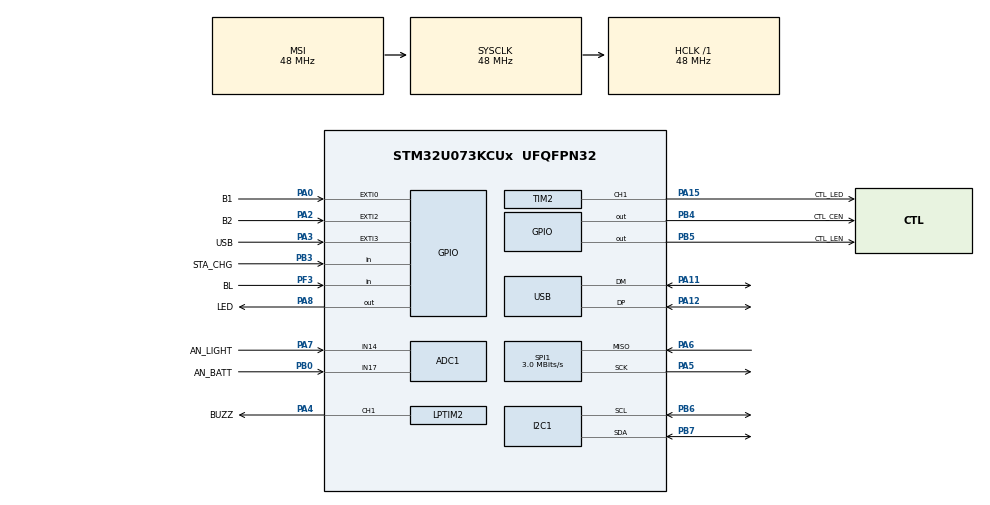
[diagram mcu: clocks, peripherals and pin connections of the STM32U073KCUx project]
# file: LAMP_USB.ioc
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ADC1.NbrOfConversion=1
ADC1.NbrOfConversionFlag=0
ADC1.OversamplingMode=DISABLE
ADC1.SamplingTimeCommon1=ADC_SAMPLETIME_160CYCLES_5
ADC1.SelectedChannel=ADC_CHANNEL_VREFINT|ADC_CHANNEL_14|ADC_CHANNEL_17|ADC_CHANNEL_VBAT
ADC1.Sequencer=NOT_FULLY_CONFIGURABLE
ADC1.master=1
Dma.Request0=SPI1_RX
Dma.Request1=TIM2_CH1
Dma.SPI1_RX.0.Direction=DMA_PERIPH_TO_MEMORY
Dma.SPI1_RX.0.EventEnable=DISABLE
Dma.SPI1_RX.0.Instance=DMA1_Channel1
Dma.SPI1_RX.0.MemDataAlignment=DMA_MDATAALIGN_HALFWORD
Dma.SPI1_RX.0.MemInc=DMA_MINC_ENABLE
Dma.SPI1_RX.0.Mode=DMA_CIRCULAR
Dma.SPI1_RX.0.PeriphDataAlignment=DMA_PDATAALIGN_HALFWORD
Dma.SPI1_RX.0.PeriphInc=DMA_PINC_DISABLE
Dma.SPI1_RX.0.Polarity=HAL_DMAMUX_REQ_GEN_RISING
Dma.SPI1_RX.0.Priority=DMA_PRIORITY_HIGH
Dma.SPI1_RX.0.RequestNumber=1
Dma.SPI1_RX.0.SignalID=NONE
Dma.SPI1_RX.0.SyncEnable=DISABLE
Dma.SPI1_RX.0.SyncPolarity=HAL_DMAMUX_SYNC_NO_EVENT
Dma.SPI1_RX.0.SyncRequestNumber=1
Dma.SPI1_RX.0.SyncSignalID=NONE
Dma.TIM2_CH1.1.Direction=DMA_MEMORY_TO_PERIPH
Dma.TIM2_CH1.1.EventEnable=DISABLE
Dma.TIM2_CH1.1.Instance=DMA1_Channel2
Dma.TIM2_CH1.1.MemDataAlignment=DMA_MDATAALIGN_WORD
Dma.TIM2_CH1.1.MemInc=DMA_MINC_ENABLE
Dma.TIM2_CH1.1.Mode=DMA_NORMAL
Dma.TIM2_CH1.1.PeriphDataAlignment=DMA_PDATAALIGN_WORD
Dma.TIM2_CH1.1.PeriphInc=DMA_PINC_DISABLE
Dma.TIM2_CH1.1.Polarity=HAL_DMAMUX_REQ_GEN_RISING
Dma.TIM2_CH1.1.Priority=DMA_PRIORITY_HIGH
Dma.TIM2_CH1.1.RequestNumber=1
Dma.TIM2_CH1.1.SignalID=NONE
Dma.TIM2_CH1.1.SyncEnable=DISABLE
Dma.TIM2_CH1.1.SyncPolarity=HAL_DMAMUX_SYNC_NO_EVENT
Dma.TIM2_CH1.1.SyncRequestNumber=1
Dma.TIM2_CH1.1.SyncSignalID=NONE
I2C1.Analog_Filter=I2C_ANALOGFILTER_ENABLE
I2C1.Speed=50
I2C1.Timing=0x20303EFD
LPTIM2.ClockPrescaler=LPTIM_PRESCALER_DIV16
LPTIM2.Period=4000
LPTIM2.UpdateMode=LPTIM_UPDATE_ENDOFPERIOD
Mcu.Family=STM32U0
Mcu.Name=STM32U073KCUx
Mcu.Package=UFQFPN32
NVIC.ADC_COMP1_2_IRQn=true\:0\:0\:false\:false\:true\:true\:true\:true
NVIC.DMA1_Channel1_IRQn=true\:0\:0\:false\:false\:true\:false\:true\:true
NVIC.DMA1_Channel2_3_IRQn=true\:0\:0\:false\:false\:true\:false\:true\:true
NVIC.PriorityGroup=NVIC_PRIORITYGROUP_2
NVIC.RTC_TAMP_IRQn=true\:0\:0\:false\:false\:true\:true\:true\:true
NVIC.SPI1_IRQn=true\:0\:0\:false\:false\:true\:true\:true\:true
NVIC.TIM2_IRQn=true\:0\:0\:false\:false\:true\:true\:true\:true
NVIC.TIM7_LPTIM2_IRQn=true\:0\:0\:false\:false\:true\:true\:true\:true
NVIC.USB_DRD_FS_IRQn=true\:0\:0\:false\:false\:true\:true\:true\:true
PA0-CK_IN.GPIO_Label=B1
PA0-CK_IN.Signal=GPXTI0
PA11\ [PA9].Mode=Device
PA11\ [PA9].Signal=USB_DM
PA12\ [PA10].Mode=Device
PA12\ [PA10].Signal=USB_DP
PA15.GPIO_Label=CTL_LED
PA15.Signal=S_TIM2_CH1_ETR
PA2.GPIO_Label=B2
PA2.Signal=GPXTI2
PA3.GPIO_Label=USB
PA3.GPIO_ModeDefaultEXTI=GPIO_MODE_IT_RISING_FALLING
PA3.GPIO_PuPd=GPIO_PULLDOWN
PA3.Signal=GPXTI3
PA4.GPIO_Label=BUZZ
PA4.Signal=S_LPTIM2_CH1
PA5.GPIO_Speed=GPIO_SPEED_FREQ_VERY_HIGH
PA5.Mode=RX_Only_Simplex_Unidirect_Master
PA5.Signal=SPI1_SCK
PA6.GPIO_PuPd=GPIO_NOPULL
PA6.GPIO_Speed=GPIO_SPEED_FREQ_VERY_HIGH
PA6.Mode=RX_Only_Simplex_Unidirect_Master
PA6.Signal=SPI1_MISO
PA7.GPIO_Label=AN_LIGHT
PA7.Mode=IN14
PA7.Signal=ADC1_IN14
PA8.GPIO_Label=LED
PA8.Signal=GPIO_Output
PB0.GPIO_Label=AN_BATT
PB0.Mode=IN17
PB0.Signal=ADC1_IN17
PB3.GPIO_Label=STA_CHG
PB3.GPIO_PuPd=GPIO_PULLUP
PB3.Signal=GPIO_Input
PB4.GPIO_Label=CTL_CEN
PB4.Signal=GPIO_Output
PB5.GPIO_Label=CTL_LEN
PB5.Signal=GPIO_Output
PB6.GPIO_Pu=GPIO_PULLUP
PB6.Mode=I2C
PB6.Signal=I2C1_SCL
PB7.GPIO_Pu=GPIO_PULLUP
PB7.Mode=I2C
PB7.Signal=I2C1_SDA
PC14-OSC32_IN.Mode=LSE-External-Oscillator
PC14-OSC32_IN.Signal=RCC_OSC32_IN
PC15-OSC32_OUT.Mode=LSE-External-Oscillator
PC15-OSC32_OUT.Signal=RCC_OSC32_OUT
PF3-BOOT0\ (BOOT0).GPIO_Label=BL
PF3-BOOT0\ (BOOT0).Signal=GPIO_Input
ProjectManager.HeapSize=0x200
ProjectManager.StackSize=0x400
ProjectManager.TargetToolchain=STM32CubeIDE
RCC.ADCCLockSelection=RCC_ADCCLKSOURCE_HSI
RCC.ADCFreq_Value=16000000
RCC.AHBFreq_Value=48000000
RCC.CortexFreq_Value=48000000
RCC.HCLKFreq_Value=48000000
RCC.HSE_VALUE=4000000
RCC.HSI48_VALUE=48000000
RCC.HSI_VALUE=16000000
RCC.LPTIM2CLockSelection=RCC_LPTIM2CLKSOURCE_HSI
RCC.MSIClockRangeVal=RCC_MSIRANGE_11
RCC.MSI_VALUE=48000000
RCC.RTCClockSelection=RCC_RTCCLKSOURCE_LSE
RCC.SYSCLKFreq_VALUE=48000000
RCC.SYSCLKSource=RCC_SYSCLKSOURCE_MSI
RCC.USBCLockSelection=RCC_USBCLKSOURCE_HSI48
RCC.USBFreq_Value=48000000
RCC.VCOOutputFreq_Value=64000000
RTC.Alarm=RTC_ALARM_A
RTC.AlarmMaskDateWeekDay=RTC_ALARMMASK_DATEWEEKDAY
RTC.AlarmMaskSeconds=RTC_ALARMMASK_SECONDS
SH.S_LPTIM2_CH1.0=LPTIM2_CH1,OutputIO_CH1
SH.S_TIM2_CH1_ETR.0=TIM2_CH1,PWM Generation1 CH1
SPI1.BaudRatePrescaler=SPI_BAUDRATEPRESCALER_16
SPI1.CLKPhase=SPI_PHASE_2EDGE
SPI1.CLKPolarity=SPI_POLARITY_HIGH
SPI1.CalculateBaudRate=3.0 MBits/s
SPI1.DataSize=SPI_DATASIZE_16BIT
SPI1.Direction=SPI_DIRECTION_2LINES_RXONLY
SPI1.Mode=SPI_MODE_MASTER
SPI1.VirtualType=VM_MASTER
TIM2.Channel-PWM\ Generation1\ CH1=TIM_CHANNEL_1
TIM2.Period=59
USB.VirtualMode=Device_Only
USBX.Core_System=1
USBX.USBD_CDCACM_EPIN_ADDR=2
USBX.USBD_CDCACM_EPOUT_ADDR=3
USBX.USBX_DEVICE_SYS_SIZE=10*1024
USBX.UX_DEVICE_APP_MEM_POOL_SIZE_STANDALONE=10*1024
USBX.UX_DEVICE_CDC_ACM=1
USBX.UX_Device_Controller=1
USBX.UX_Device_CoreStack=1
VP_ADC1_Vbat_Input.Mode=IN-Vbat
VP_ADC1_Vref_Input.Mode=IN-Vrefint
VP_LPTIM2_VS_CH1.Mode=Channel_1_Active
VP_LPTIM2_VS_LPTIM_counterModeInternalClock.Mode=Counts__internal_clock_event_00
VP_PWR_VS_SECSignals.Mode=Security/Privilege
VP_RCC_USB.Mode=CRS SYNC Source USB
VP_RNG_VS_RNG.Mode=RNG_Activate
VP_RTC_VS_RTC_Activate.Mode=RTC_Enabled
VP_RTC_VS_RTC_Alarm_A_Intern.Mode=Alarm A
VP_RTC_VS_RTC_Calendar.Mode=RTC_Calendar
VP_TIM2_VS_ClockSourceINT.Mode=Internal
VP_USBX_Core_System.Mode=Core_System
VP_USBX_UX\ Device\ CDC\ ACM\ Class_FS.Mode=UX_Device_class_CDC_ACM_FS
VP_USBX_UX\ Device\ Controller_FS.Mode=UX_Device_Controller_FS
VP_USBX_UX\ Device\ CoreStack_FS.Mode=UX_Device_CoreStack_FS
board=custom

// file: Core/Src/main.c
/* USER CODE BEGIN Header */
/**
  ******************************************************************************
  * @file           : main.c
  * @brief          : Main program body
  ******************************************************************************
  * @attention
  *
  * Copyright (c) 2025 STMicroelectronics.
  * All rights reserved.
  *
  * This software is licensed under terms that can be found in the LICENSE file
  * in the root directory of this software component.
  * If no LICENSE file comes with this software, it is provided AS-IS.
  *
  ******************************************************************************
  */
/* USER CODE END Header */
#include "main.h"
#include "app_usbx_device.h"

/* USER CODE BEGIN Includes */
#include <stdint.h>
#include <stddef.h>
#include <string.h>
#include "usb_cli.h"
#include "led.h"
#include "analog.h"
#include "alarm.h"
#include "charger.h"
#include "mic.h"
#include "MiniPascal.h"
#include "mp_buttons.h"
#include "lp_delay.h"
#include "rtc.h"
#include "memmon.h"
#include "stm32u0xx_hal_pwr_ex.h"
/* USER CODE END Includes */

/* USER CODE BEGIN PD */
/* Flash memory reserved for user program/data storage. */
extern const uint32_t __flash_data_start__;
extern const uint32_t __flash_data_end__;

#define FLASH_DATA_START ((uint32_t)&__flash_data_start__)
#define FLASH_DATA_END   ((uint32_t)&__flash_data_end__)
#define FLASH_DATA_SIZE  (FLASH_DATA_END - FLASH_DATA_START)

/* RAM info (from linker script). */
extern uint8_t _estack;
#define RAM_START_ADDR 0x20000000u

/* USER CODE END PD */

ADC_HandleTypeDef hadc1;

I2C_HandleTypeDef hi2c1;

LPTIM_HandleTypeDef hlptim2;

RNG_HandleTypeDef hrng;

RTC_HandleTypeDef hrtc;

SPI_HandleTypeDef hspi1;
DMA_HandleTypeDef hdma_spi1_rx;

TIM_HandleTypeDef htim2;
DMA_HandleTypeDef hdma_tim2_ch1;

PCD_HandleTypeDef hpcd_USB_DRD_FS;

void SystemClock_Config(void);
static void MX_GPIO_Init(void);
static void MX_DMA_Init(void);
static void MX_USB_PCD_Init(void);
static void MX_LPTIM2_Init(void);
static void MX_TIM2_Init(void);
static void MX_I2C1_Init(void);
static void MX_RTC_Init(void);
static void MX_ADC1_Init(void);
static void MX_RNG_Init(void);
static void MX_SPI1_Init(void);
/* USER CODE BEGIN PFP */
static void JumpToBootloader(void);
static void CheckBootloaderEntry(void);
static void BL_Task(void);
void HAL_SYSTICK_Callback(void);
static void LowBattery_Task(void);
static void LowBattery_EarlyGate(void);
static float vbat_read_blocking(uint32_t timeout_ms);
static void EnterLowBatteryStandby(void);
static void NoProgram_SleepUntilUSB(void);
static void EnterStop(void);
static void Power_MinimizeLoads(void);
static void EnterShutdown(void);
static void B2_Hold_Service_NoSleep(uint32_t now_ms);
static void B2_Hold_Service_Blocking(void);
/* USER CODE END PFP */

/* USER CODE BEGIN 0 */

/* One-shot charger reset on USB attach (helps STNS01 recover from attach glitches). */
static volatile uint8_t s_usb_chgrst_done = 0u;

/* STOP2 wake bookkeeping (so a short BT1 press reliably starts the lamp after wake). */
static volatile uint8_t s_stop2_armed = 0u;
static volatile uint8_t s_stop2_woke_by_b1 = 0u;

/* Battery policy: after USB detach, do not autorun; wait in STOP2 for B1 hold. */
static volatile uint8_t s_battery_run_allowed = 0u;

/* First-stage GPIO init (bootloader entry check) should not enable EXTI NVIC. */
static volatile uint8_t s_gpio_skip_exti_nvic = 0u;

/* USER CODE END 0 */

int main(void)
{

  /* MCU Configuration--------------------------------------------------------*/

  /* Reset of all peripherals, Initializes the Flash interface and the Systick. */
  HAL_Init();

  /* Configure the system clock */
  SystemClock_Config();

  /* USER CODE BEGIN SysInit */
  /* GPIO init for bootloader check (BL held 5s). */
  s_gpio_skip_exti_nvic = 1u;
  MX_GPIO_Init();
  CheckBootloaderEntry();
  s_gpio_skip_exti_nvic = 0u;
  /* USER CODE END SysInit */

  /* Initialize all configured peripherals */
  MX_GPIO_Init();
  MX_DMA_Init();
  MX_USB_PCD_Init();
  MX_USBX_Device_Init();
  MX_LPTIM2_Init();
  MX_TIM2_Init();
  MX_I2C1_Init();
  MX_RTC_Init();
  MX_ADC1_Init();
  MX_RNG_Init();
  MX_SPI1_Init();
  /* USER CODE BEGIN 2 */
  /* Enable LED power supply. */
  HAL_GPIO_WritePin(CTL_LEN_GPIO_Port, CTL_LEN_Pin, GPIO_PIN_SET);
  LP_DELAY(100);

  /* Initialize ANALOG driver (ADC with VREFINT calibration). */
  ANALOG_Init(&hadc1);

  /* Initialize charger driver. */
  CHARGER_Init();
  if (USB_IsPresent() != 0u)
  {
    CHARGER_Reset();
    s_usb_chgrst_done = 1u;
  }

  /* If battery is critically low (and no USB), park MCU in standby and retry every 1 s. */
  LowBattery_EarlyGate();

  /* Initialize PDM microphone driver (SPI1+DMA). MIC_Task() updates 50 ms windows. */
  MIC_Init();
  /* MIC_Start() is handled by the driver automatically if needed (interval/continuous). */

  /* Initialize USB CLI (CDC). */
  USB_CLI_Init();

  /* Initialize MiniPascal interpreter. */
  mp_init();

  /* Initialize button debouncer/event queue (battery use). */
  MP_Buttons_Init();

  /* Track RAM free/min-free for debugging (CLI MEM). */
  MemMon_Init();

  /* If running on battery and no programs exist, blink and wait in low power until USB is connected. */
  if ((USB_IsPresent() == 0u) && (mp_first_program_slot() == 0u))
  {
    NoProgram_SleepUntilUSB();
  }
  else if (USB_IsPresent() == 0u)
  {
    /* Battery boot OK: 1x blink 200ms */
    IND_LED_On();
    LP_DELAY(200);
    IND_LED_Off();
  }

  /* USER CODE END 2 */

  /* Infinite loop */
  /* USER CODE BEGIN WHILE */
  while (1)
  {
      uint8_t usb_pin = USB_IsPresent();
      static uint8_t s_usb_pin_prev = 0u;

      /* On attach, reset charger once (EXTI attach normally triggers reset; this is a fallback). */
      if ((s_usb_pin_prev == 0u) && (usb_pin != 0u))
      {
        if (!s_usb_chgrst_done)
        {
          CHARGER_Reset();
          s_usb_chgrst_done = 1u;
        }

        /* USB connected: stop any battery program and blank LEDs. */
        mp_force_stop();
        Power_MinimizeLoads();
      }

      /* Fallback: if EXTI detach interrupt is missed, still switch to battery mode. */
      if ((s_usb_pin_prev != 0u) && (usb_pin == 0u))
      {
        USB_CLI_NotifyDetach();
        mp_request_usb_detach();
        IND_LED_Off();
        s_usb_chgrst_done = 0u;
        s_battery_run_allowed = 0u;
      }
      s_usb_pin_prev = usb_pin;

      if (usb_pin)
      {
        ux_device_stack_tasks_run();
        USB_CLI_Task();
      }

      /* Debounced buttons: feed short/long events into MiniPascal (USB + battery). */
      MP_Buttons_Poll(HAL_GetTick());
      while (1)
      {
        mp_btn_id_t e = MP_Buttons_PopShort();
        if (e == MP_BTN_NONE) break;
        mp_notify_button_short((uint8_t)e);
      }
      while (1)
      {
        mp_btn_id_t e = MP_Buttons_PopLong();
        if (e == MP_BTN_NONE) break;
        mp_notify_button_long((uint8_t)e);
      }

      /* USB mode is controlled by USB detect pin. */
      uint8_t usb_mode = usb_pin;
      if (!usb_mode)
      {
        if (mp_first_program_slot() == 0u)
        {
          NoProgram_SleepUntilUSB();
        }
        if (!s_battery_run_allowed)
        {
          EnterStop(); /* waits for B1 hold >=2s */
          continue;
        }
        mp_autorun_poll();
        mp_task();
      }
      ANALOG_Task();
      CHARGER_Task();
      LowBattery_Task();
      BEEP_Task();
      MIC_Task();
      BL_Task();
      /* Battery safety: B2 hold >=2s forces shutdown even if program is running. */
      B2_Hold_Service_NoSleep(HAL_GetTick());
      MemMon_Task();
      /* Power save: sleep until an interrupt (USB/UART/EXTI/SysTick...). */
      __WFI();
    /* USER CODE END WHILE */

  }
}

void SystemClock_Config(void)
{
  RCC_OscInitTypeDef RCC_OscInitStruct = {0};
  RCC_ClkInitTypeDef RCC_ClkInitStruct = {0};
  RCC_CRSInitTypeDef RCC_CRSInitStruct = {0};

  /** Configure the main internal regulator output voltage
  */
  HAL_PWREx_ControlVoltageScaling(PWR_REGULATOR_VOLTAGE_SCALE1);

  /** Configure LSE Drive Capability
  */
  HAL_PWR_EnableBkUpAccess();
  __HAL_RCC_LSEDRIVE_CONFIG(RCC_LSEDRIVE_LOW);

  /** Initializes the RCC Oscillators according to the specified parameters
  * in the RCC_OscInitTypeDef structure.
  */
  RCC_OscInitStruct.OscillatorType = RCC_OSCILLATORTYPE_HSI|RCC_OSCILLATORTYPE_LSE
                              |RCC_OSCILLATORTYPE_HSI48|RCC_OSCILLATORTYPE_MSI;
  RCC_OscInitStruct.LSEState = RCC_LSE_ON;
  RCC_OscInitStruct.HSIState = RCC_HSI_ON;
  RCC_OscInitStruct.HSICalibrationValue = RCC_HSICALIBRATION_DEFAULT;
  RCC_OscInitStruct.MSIState = RCC_MSI_ON;
  RCC_OscInitStruct.MSICalibrationValue = RCC_MSICALIBRATION_DEFAULT;
  RCC_OscInitStruct.MSIClockRange = RCC_MSIRANGE_11;
  RCC_OscInitStruct.HSI48State = RCC_HSI48_ON;
  RCC_OscInitStruct.PLL.PLLState = RCC_PLL_NONE;
  if (HAL_RCC_OscConfig(&RCC_OscInitStruct) != HAL_OK)
  {
    Error_Handler();
  }

  /** Initializes the CPU, AHB and APB buses clocks
  */
  RCC_ClkInitStruct.ClockType = RCC_CLOCKTYPE_HCLK|RCC_CLOCKTYPE_SYSCLK
                              |RCC_CLOCKTYPE_PCLK1;
  RCC_ClkInitStruct.SYSCLKSource = RCC_SYSCLKSOURCE_MSI;
  RCC_ClkInitStruct.AHBCLKDivider = RCC_SYSCLK_DIV1;
  RCC_ClkInitStruct.APB1CLKDivider = RCC_HCLK_DIV1;

  if (HAL_RCC_ClockConfig(&RCC_ClkInitStruct, FLASH_LATENCY_1) != HAL_OK)
  {
    Error_Handler();
  }

  /** Enable the CRS clock
  */
  __HAL_RCC_CRS_CLK_ENABLE();

  /** Configures CRS
  */
  RCC_CRSInitStruct.Prescaler = RCC_CRS_SYNC_DIV1;
  RCC_CRSInitStruct.Source = RCC_CRS_SYNC_SOURCE_USB;
  RCC_CRSInitStruct.Polarity = RCC_CRS_SYNC_POLARITY_RISING;
  RCC_CRSInitStruct.ReloadValue = __HAL_RCC_CRS_RELOADVALUE_CALCULATE(48000000,1000);
  RCC_CRSInitStruct.ErrorLimitValue = 34;
  RCC_CRSInitStruct.HSI48CalibrationValue = 32;

  HAL_RCCEx_CRSConfig(&RCC_CRSInitStruct);
}

static void MX_ADC1_Init(void)
{

  ADC_ChannelConfTypeDef sConfig = {0};
  ADC_AnalogWDGConfTypeDef AnalogWDGConfig = {0};

  /** Configure the global features of the ADC (Clock, Resolution, Data Alignment and number of conversion)
  */
  hadc1.Instance = ADC1;
  hadc1.Init.ClockPrescaler = ADC_CLOCK_SYNC_PCLK_DIV1;
  hadc1.Init.Resolution = ADC_RESOLUTION_12B;
  hadc1.Init.DataAlign = ADC_DATAALIGN_RIGHT;
  hadc1.Init.ScanConvMode = ADC_SCAN_SEQ_FIXED;
  hadc1.Init.EOCSelection = ADC_EOC_SINGLE_CONV;
  hadc1.Init.LowPowerAutoWait = DISABLE;
  hadc1.Init.LowPowerAutoPowerOff = DISABLE;
  hadc1.Init.ContinuousConvMode = DISABLE;
  hadc1.Init.NbrOfConversion = 1;
  hadc1.Init.DiscontinuousConvMode = DISABLE;
  hadc1.Init.ExternalTrigConv = ADC_SOFTWARE_START;
  hadc1.Init.ExternalTrigConvEdge = ADC_EXTERNALTRIGCONVEDGE_NONE;
  hadc1.Init.DMAContinuousRequests = DISABLE;
  hadc1.Init.Overrun = ADC_OVR_DATA_PRESERVED;
  hadc1.Init.SamplingTimeCommon1 = ADC_SAMPLETIME_160CYCLES_5;
  hadc1.Init.OversamplingMode = DISABLE;
  hadc1.Init.TriggerFrequencyMode = ADC_TRIGGER_FREQ_HIGH;
  if (HAL_ADC_Init(&hadc1) != HAL_OK)
  {
    Error_Handler();
  }

  /** Configure Regular Channel
  */
  sConfig.Channel = ADC_CHANNEL_VREFINT;
  sConfig.Rank = ADC_RANK_CHANNEL_NUMBER;
  if (HAL_ADC_ConfigChannel(&hadc1, &sConfig) != HAL_OK)
  {
    Error_Handler();
  }

  /** Configure Regular Channel
  */
  sConfig.Channel = ADC_CHANNEL_14;
  if (HAL_ADC_ConfigChannel(&hadc1, &sConfig) != HAL_OK)
  {
    Error_Handler();
  }

  /** Configure Regular Channel
  */
  sConfig.Channel = ADC_CHANNEL_17;
  if (HAL_ADC_ConfigChannel(&hadc1, &sConfig) != HAL_OK)
  {
    Error_Handler();
  }

  /** Configure Regular Channel
  */
  sConfig.Channel = ADC_CHANNEL_VBAT;
  if (HAL_ADC_ConfigChannel(&hadc1, &sConfig) != HAL_OK)
  {
    Error_Handler();
  }

  /** Configure the WatchDogs 2
  */
  AnalogWDGConfig.WatchdogNumber = ADC_ANALOGWATCHDOG_2;
  AnalogWDGConfig.WatchdogMode = ADC_ANALOGWATCHDOG_SINGLE_REG;
  if (HAL_ADC_AnalogWDGConfig(&hadc1, &AnalogWDGConfig) != HAL_OK)
  {
    Error_Handler();
  }

  /** Configure the WatchDogs 3
  */
  AnalogWDGConfig.WatchdogNumber = ADC_ANALOGWATCHDOG_3;
  if (HAL_ADC_AnalogWDGConfig(&hadc1, &AnalogWDGConfig) != HAL_OK)
  {
    Error_Handler();
  }

}

static void MX_I2C1_Init(void)
{

  hi2c1.Instance = I2C1;
  hi2c1.Init.Timing = 0x20303EFD;
  hi2c1.Init.OwnAddress1 = 0;
  hi2c1.Init.AddressingMode = I2C_ADDRESSINGMODE_7BIT;
  hi2c1.Init.DualAddressMode = I2C_DUALADDRESS_DISABLE;
  hi2c1.Init.OwnAddress2 = 0;
  hi2c1.Init.OwnAddress2Masks = I2C_OA2_NOMASK;
  hi2c1.Init.GeneralCallMode = I2C_GENERALCALL_DISABLE;
  hi2c1.Init.NoStretchMode = I2C_NOSTRETCH_DISABLE;
  if (HAL_I2C_Init(&hi2c1) != HAL_OK)
  {
    Error_Handler();
  }

  /** Configure Analogue filter
  */
  if (HAL_I2CEx_ConfigAnalogFilter(&hi2c1, I2C_ANALOGFILTER_ENABLE) != HAL_OK)
  {
    Error_Handler();
  }

  /** Configure Digital filter
  */
  if (HAL_I2CEx_ConfigDigitalFilter(&hi2c1, 0) != HAL_OK)
  {
    Error_Handler();
  }

}

static void MX_LPTIM2_Init(void)
{

  LPTIM_OC_ConfigTypeDef sConfig1 = {0};

  hlptim2.Instance = LPTIM2;
  hlptim2.Init.Clock.Source = LPTIM_CLOCKSOURCE_APBCLOCK_LPOSC;
  hlptim2.Init.Clock.Prescaler = LPTIM_PRESCALER_DIV16;
  hlptim2.Init.Trigger.Source = LPTIM_TRIGSOURCE_SOFTWARE;
  hlptim2.Init.Period = 4000;
  hlptim2.Init.UpdateMode = LPTIM_UPDATE_ENDOFPERIOD;
  hlptim2.Init.CounterSource = LPTIM_COUNTERSOURCE_INTERNAL;
  hlptim2.Init.Input1Source = LPTIM_INPUT1SOURCE_GPIO;
  hlptim2.Init.RepetitionCounter = 0;
  if (HAL_LPTIM_Init(&hlptim2) != HAL_OK)
  {
    Error_Handler();
  }
  sConfig1.Pulse = 0;
  sConfig1.OCPolarity = LPTIM_OCPOLARITY_HIGH;
  if (HAL_LPTIM_OC_ConfigChannel(&hlptim2, &sConfig1, LPTIM_CHANNEL_1) != HAL_OK)
  {
    Error_Handler();
  }
  HAL_LPTIM_MspPostInit(&hlptim2);

}

static void MX_RNG_Init(void)
{

  hrng.Instance = RNG;
  hrng.Init.ClockErrorDetection = RNG_CED_ENABLE;
  if (HAL_RNG_Init(&hrng) != HAL_OK)
  {
    Error_Handler();
  }

}

static void MX_RTC_Init(void)
{

  RTC_TimeTypeDef sTime = {0};
  RTC_DateTypeDef sDate = {0};
  RTC_AlarmTypeDef sAlarm = {0};

  /** Initialize RTC Only
  */
  hrtc.Instance = RTC;
  hrtc.Init.HourFormat = RTC_HOURFORMAT_24;
  hrtc.Init.AsynchPrediv = 127;
  hrtc.Init.SynchPrediv = 255;
  hrtc.Init.OutPut = RTC_OUTPUT_DISABLE;
  hrtc.Init.OutPutRemap = RTC_OUTPUT_REMAP_NONE;
  hrtc.Init.OutPutPolarity = RTC_OUTPUT_POLARITY_HIGH;
  hrtc.Init.OutPutType = RTC_OUTPUT_TYPE_OPENDRAIN;
  hrtc.Init.OutPutPullUp = RTC_OUTPUT_PULLUP_NONE;
  hrtc.Init.BinMode = RTC_BINARY_NONE;
  if (HAL_RTC_Init(&hrtc) != HAL_OK)
  {
    Error_Handler();
  }

  /* USER CODE BEGIN Check_RTC_BKUP */
  const uint32_t rtc_magic = 0x32F2u;
  if (HAL_RTCEx_BKUPRead(&hrtc, RTC_BKP_DR0) != rtc_magic)
  {
    /* First-time init only */
    sTime.Hours = 0x0;
    sTime.Minutes = 0x0;
    sTime.Seconds = 0x0;
    sTime.DayLightSaving = RTC_DAYLIGHTSAVING_NONE;
    sTime.StoreOperation = RTC_STOREOPERATION_RESET;
    if (HAL_RTC_SetTime(&hrtc, &sTime, RTC_FORMAT_BCD) != HAL_OK)
    {
      Error_Handler();
    }
    sDate.WeekDay = RTC_WEEKDAY_MONDAY;
    sDate.Month = RTC_MONTH_JANUARY;
    sDate.Date = 0x1;
    sDate.Year = 0x0;

    if (HAL_RTC_SetDate(&hrtc, &sDate, RTC_FORMAT_BCD) != HAL_OK)
    {
      Error_Handler();
    }

    /* Enable the Alarm A */
    sAlarm.AlarmTime.Hours = 0x0;
    sAlarm.AlarmTime.Minutes = 0x0;
    sAlarm.AlarmTime.Seconds = 0x0;
    sAlarm.AlarmTime.SubSeconds = 0x0;
    sAlarm.AlarmMask = RTC_ALARMMASK_DATEWEEKDAY|RTC_ALARMMASK_SECONDS;
    sAlarm.AlarmSubSecondMask = RTC_ALARMSUBSECONDMASK_ALL;
    sAlarm.AlarmDateWeekDaySel = RTC_ALARMDATEWEEKDAYSEL_DATE;
    sAlarm.AlarmDateWeekDay = 0x1;
    sAlarm.Alarm = RTC_ALARM_A;
    if (HAL_RTC_SetAlarm_IT(&hrtc, &sAlarm, RTC_FORMAT_BCD) != HAL_OK)
    {
      Error_Handler();
    }

    HAL_RTCEx_BKUPWrite(&hrtc, RTC_BKP_DR0, rtc_magic);
  }
  /* USER CODE END Check_RTC_BKUP */

  /** Initialize RTC and set the Time and Date
  */
  sTime.Hours = 0x0;
  sTime.Minutes = 0x0;
  sTime.Seconds = 0x0;
  sTime.DayLightSaving = RTC_DAYLIGHTSAVING_NONE;
  sTime.StoreOperation = RTC_STOREOPERATION_RESET;
  if (HAL_RTC_SetTime(&hrtc, &sTime, RTC_FORMAT_BCD) != HAL_OK)
  {
    Error_Handler();
  }
  sDate.WeekDay = RTC_WEEKDAY_MONDAY;
  sDate.Month = RTC_MONTH_JANUARY;
  sDate.Date = 0x1;
  sDate.Year = 0x0;

  if (HAL_RTC_SetDate(&hrtc, &sDate, RTC_FORMAT_BCD) != HAL_OK)
  {
    Error_Handler();
  }

  /** Enable the Alarm A
  */
  sAlarm.AlarmTime.Hours = 0x0;
  sAlarm.AlarmTime.Minutes = 0x0;
  sAlarm.AlarmTime.Seconds = 0x0;
  sAlarm.AlarmTime.SubSeconds = 0x0;
  sAlarm.AlarmMask = RTC_ALARMMASK_DATEWEEKDAY|RTC_ALARMMASK_SECONDS;
  sAlarm.AlarmSubSecondMask = RTC_ALARMSUBSECONDMASK_ALL;
  sAlarm.AlarmDateWeekDaySel = RTC_ALARMDATEWEEKDAYSEL_DATE;
  sAlarm.AlarmDateWeekDay = 0x1;
  sAlarm.Alarm = RTC_ALARM_A;
  if (HAL_RTC_SetAlarm_IT(&hrtc, &sAlarm, RTC_FORMAT_BCD) != HAL_OK)
  {
    Error_Handler();
  }

}

static void MX_SPI1_Init(void)
{

  /* SPI1 parameter configuration*/
  hspi1.Instance = SPI1;
  hspi1.Init.Mode = SPI_MODE_MASTER;
  hspi1.Init.Direction = SPI_DIRECTION_2LINES_RXONLY;
  hspi1.Init.DataSize = SPI_DATASIZE_16BIT;
  hspi1.Init.CLKPolarity = SPI_POLARITY_HIGH;
  hspi1.Init.CLKPhase = SPI_PHASE_2EDGE;
  hspi1.Init.NSS = SPI_NSS_SOFT;
  hspi1.Init.BaudRatePrescaler = SPI_BAUDRATEPRESCALER_16;
  hspi1.Init.FirstBit = SPI_FIRSTBIT_MSB;
  hspi1.Init.TIMode = SPI_TIMODE_DISABLE;
  hspi1.Init.CRCCalculation = SPI_CRCCALCULATION_DISABLE;
  hspi1.Init.CRCPolynomial = 7;
  hspi1.Init.CRCLength = SPI_CRC_LENGTH_DATASIZE;
  hspi1.Init.NSSPMode = SPI_NSS_PULSE_DISABLE;
  if (HAL_SPI_Init(&hspi1) != HAL_OK)
  {
    Error_Handler();
  }

}

static void MX_TIM2_Init(void)
{

  TIM_ClockConfigTypeDef sClockSourceConfig = {0};
  TIM_MasterConfigTypeDef sMasterConfig = {0};
  TIM_OC_InitTypeDef sConfigOC = {0};

  htim2.Instance = TIM2;
  htim2.Init.Prescaler = 0;
  htim2.Init.CounterMode = TIM_COUNTERMODE_UP;
  htim2.Init.Period = 59;
  htim2.Init.ClockDivision = TIM_CLOCKDIVISION_DIV1;
  htim2.Init.AutoReloadPreload = TIM_AUTORELOAD_PRELOAD_DISABLE;
  if (HAL_TIM_Base_Init(&htim2) != HAL_OK)
  {
    Error_Handler();
  }
  sClockSourceConfig.ClockSource = TIM_CLOCKSOURCE_INTERNAL;
  if (HAL_TIM_ConfigClockSource(&htim2, &sClockSourceConfig) != HAL_OK)
  {
    Error_Handler();
  }
  if (HAL_TIM_PWM_Init(&htim2) != HAL_OK)
  {
    Error_Handler();
  }
  sMasterConfig.MasterOutputTrigger = TIM_TRGO_RESET;
  sMasterConfig.MasterSlaveMode = TIM_MASTERSLAVEMODE_DISABLE;
  if (HAL_TIMEx_MasterConfigSynchronization(&htim2, &sMasterConfig) != HAL_OK)
  {
    Error_Handler();
  }
  sConfigOC.OCMode = TIM_OCMODE_PWM1;
  sConfigOC.Pulse = 0;
  sConfigOC.OCPolarity = TIM_OCPOLARITY_HIGH;
  sConfigOC.OCFastMode = TIM_OCFAST_DISABLE;
  if (HAL_TIM_PWM_ConfigChannel(&htim2, &sConfigOC, TIM_CHANNEL_1) != HAL_OK)
  {
    Error_Handler();
  }
  HAL_TIM_MspPostInit(&htim2);

}

static void MX_USB_PCD_Init(void)
{

  hpcd_USB_DRD_FS.Instance = USB_DRD_FS;
  hpcd_USB_DRD_FS.Init.dev_endpoints = 8;
  hpcd_USB_DRD_FS.Init.speed = USBD_FS_SPEED;
  hpcd_USB_DRD_FS.Init.phy_itface = PCD_PHY_EMBEDDED;
  hpcd_USB_DRD_FS.Init.Sof_enable = DISABLE;
  hpcd_USB_DRD_FS.Init.low_power_enable = DISABLE;
  hpcd_USB_DRD_FS.Init.lpm_enable = DISABLE;
  hpcd_USB_DRD_FS.Init.battery_charging_enable = DISABLE;
  if (HAL_PCD_Init(&hpcd_USB_DRD_FS) != HAL_OK)
  {
    Error_Handler();
  }
  /* USER CODE BEGIN USB_Init 2 */
    HAL_PCDEx_PMAConfig(&hpcd_USB_DRD_FS , 0x00 , PCD_SNG_BUF, 0x20); /* EP0 OUT */
    HAL_PCDEx_PMAConfig(&hpcd_USB_DRD_FS , 0x80 , PCD_SNG_BUF, 0x60); /* EP0 IN */
    HAL_PCDEx_PMAConfig(&hpcd_USB_DRD_FS , 0x81 , PCD_SNG_BUF, 0xA0); /* EP1 IN */
    HAL_PCDEx_PMAConfig(&hpcd_USB_DRD_FS , 0x82 , PCD_SNG_BUF, 0xE0); /* EP2 IN */
    HAL_PCDEx_PMAConfig(&hpcd_USB_DRD_FS , 0x03 , PCD_SNG_BUF, 0xF0); /* EP3 OUT */

    /* NOTE: Do NOT start USB or init USBX DCD here.
     * It is done in MX_USBX_Device_Init() after USBX stack is ready.
     */
  /* USER CODE END USB_Init 2 */

}

static void MX_DMA_Init(void)
{

  /* DMA controller clock enable */
  __HAL_RCC_DMA1_CLK_ENABLE();

  /* DMA interrupt init */
  /* DMA1_Channel1_IRQn interrupt configuration */
  HAL_NVIC_SetPriority(DMA1_Channel1_IRQn, 0, 0);
  HAL_NVIC_EnableIRQ(DMA1_Channel1_IRQn);
  /* DMA1_Channel2_3_IRQn interrupt configuration */
  HAL_NVIC_SetPriority(DMA1_Channel2_3_IRQn, 0, 0);
  HAL_NVIC_EnableIRQ(DMA1_Channel2_3_IRQn);

}

static void MX_GPIO_Init(void)
{
  GPIO_InitTypeDef GPIO_InitStruct = {0};

  /* GPIO Ports Clock Enable */
  __HAL_RCC_GPIOC_CLK_ENABLE();
  __HAL_RCC_GPIOA_CLK_ENABLE();
  __HAL_RCC_GPIOB_CLK_ENABLE();
  __HAL_RCC_GPIOF_CLK_ENABLE();

  /*Configure GPIO pin Output Level */
  HAL_GPIO_WritePin(LED_GPIO_Port, LED_Pin, GPIO_PIN_RESET);

  /*Configure GPIO pin Output Level */
  HAL_GPIO_WritePin(GPIOB, CTL_CEN_Pin|CTL_LEN_Pin, GPIO_PIN_RESET);

  /*Configure GPIO pins : B1_Pin B2_Pin */
  GPIO_InitStruct.Pin = B1_Pin|B2_Pin;
  GPIO_InitStruct.Mode = GPIO_MODE_IT_RISING;
  GPIO_InitStruct.Pull = GPIO_NOPULL;
  HAL_GPIO_Init(GPIOA, &GPIO_InitStruct);

  /*Configure GPIO pin : USB_Pin */
  GPIO_InitStruct.Pin = USB_Pin;
  GPIO_InitStruct.Mode = GPIO_MODE_IT_RISING_FALLING;
  GPIO_InitStruct.Pull = GPIO_PULLDOWN;
  HAL_GPIO_Init(USB_GPIO_Port, &GPIO_InitStruct);

  /*Configure GPIO pin : LED_Pin */
  GPIO_InitStruct.Pin = LED_Pin;
  GPIO_InitStruct.Mode = GPIO_MODE_OUTPUT_PP;
  GPIO_InitStruct.Pull = GPIO_NOPULL;
  GPIO_InitStruct.Speed = GPIO_SPEED_FREQ_LOW;
  HAL_GPIO_Init(LED_GPIO_Port, &GPIO_InitStruct);

  /*Configure GPIO pin : STA_CHG_Pin */
  GPIO_InitStruct.Pin = STA_CHG_Pin;
  GPIO_InitStruct.Mode = GPIO_MODE_INPUT;
  GPIO_InitStruct.Pull = GPIO_PULLUP;
  HAL_GPIO_Init(STA_CHG_GPIO_Port, &GPIO_InitStruct);

  /*Configure GPIO pins : CTL_CEN_Pin CTL_LEN_Pin */
  GPIO_InitStruct.Pin = CTL_CEN_Pin|CTL_LEN_Pin;
  GPIO_InitStruct.Mode = GPIO_MODE_OUTPUT_PP;
  GPIO_InitStruct.Pull = GPIO_NOPULL;
  GPIO_InitStruct.Speed = GPIO_SPEED_FREQ_LOW;
  HAL_GPIO_Init(GPIOB, &GPIO_InitStruct);

  /*Configure GPIO pin : BL_Pin */
  GPIO_InitStruct.Pin = BL_Pin;
  GPIO_InitStruct.Mode = GPIO_MODE_INPUT;
  GPIO_InitStruct.Pull = GPIO_NOPULL;
  HAL_GPIO_Init(BL_GPIO_Port, &GPIO_InitStruct);

  /* USER CODE BEGIN MX_GPIO_Init_2 */
  /* Clear any stale pending EXTI flags before enabling IRQ. */
  __HAL_GPIO_EXTI_CLEAR_IT(B1_Pin);
  __HAL_GPIO_EXTI_CLEAR_IT(B2_Pin);
  __HAL_GPIO_EXTI_CLEAR_IT(USB_Pin);
  if (!s_gpio_skip_exti_nvic)
  {
    HAL_NVIC_SetPriority(EXTI0_1_IRQn, 0, 0);
    HAL_NVIC_EnableIRQ(EXTI0_1_IRQn);
    HAL_NVIC_SetPriority(EXTI2_3_IRQn, 0, 0);
    HAL_NVIC_EnableIRQ(EXTI2_3_IRQn);
  }

  /* Default indicator LED to OFF. */
  IND_LED_Off();
  /* USER CODE END MX_GPIO_Init_2 */
}

/* USER CODE BEGIN 4 */
uint8_t USB_IsPresent(void)
{
  return (HAL_GPIO_ReadPin(USB_GPIO_Port, USB_Pin) == GPIO_PIN_SET) ? 1u : 0u;
}

/* MiniPascal HAL glue (board integration). */
int mp_hal_getchar(void)
{
  return -1;
}

void mp_hal_putchar(char c)
{
  char b[2] = {c, 0};
  cdc_write_str(b);
}

uint32_t mp_hal_millis(void)
{
  return HAL_GetTick();
}

int mp_hal_abort_pressed(void)
{
  return (HAL_GPIO_ReadPin(B2_GPIO_Port, B2_Pin) == GPIO_PIN_SET) ? 1 : 0;
}

int mp_hal_usb_connected(void)
{
  return (USB_IsPresent() != 0u) ? 1 : 0;
}

void mp_hal_led_power_on(void)
{
  if (HAL_GPIO_ReadPin(CTL_LEN_GPIO_Port, CTL_LEN_Pin) == GPIO_PIN_RESET)
  {
    HAL_GPIO_WritePin(CTL_LEN_GPIO_Port, CTL_LEN_Pin, GPIO_PIN_SET);
    LP_DELAY(100);
  }
}

void mp_hal_led_power_off(void)
{
  HAL_GPIO_WritePin(CTL_LEN_GPIO_Port, CTL_LEN_Pin, GPIO_PIN_RESET);
}

/* Battery-only hold actions sampled while awake (SysTick runs only outside STOP2). */
#define BL_SLEEP_HOLD_MS 2000u
#define BL_ACTIVE_STATE GPIO_PIN_SET
static volatile uint32_t s_bl_hold_ms = 0u;
static volatile uint8_t s_bl_sleep_req = 0u;

#define B2_SHUTDOWN_HOLD_MS 2000u
#define B2_ACTIVE_STATE GPIO_PIN_SET
static uint32_t s_b2_hold_start_ms = 0u;

static void B2_Hold_Service_NoSleep(uint32_t now_ms)
{
  if (USB_IsPresent() != 0u)
  {
    s_b2_hold_start_ms = 0u;
    return;
  }

  if (HAL_GPIO_ReadPin(B2_GPIO_Port, B2_Pin) == B2_ACTIVE_STATE)
  {
    if (s_b2_hold_start_ms == 0u) s_b2_hold_start_ms = now_ms;
    if ((uint32_t)(now_ms - s_b2_hold_start_ms) >= B2_SHUTDOWN_HOLD_MS)
      EnterShutdown();
  }
  else
  {
    s_b2_hold_start_ms = 0u;
  }
}

static void B2_Hold_Service_Blocking(void)
{
  if (USB_IsPresent() != 0u)
  {
    s_b2_hold_start_ms = 0u;
    return;
  }

  if (HAL_GPIO_ReadPin(B2_GPIO_Port, B2_Pin) != B2_ACTIVE_STATE)
  {
    s_b2_hold_start_ms = 0u;
    return;
  }

  while (HAL_GPIO_ReadPin(B2_GPIO_Port, B2_Pin) == B2_ACTIVE_STATE)
  {
    B2_Hold_Service_NoSleep(HAL_GetTick());
    HAL_PWR_EnterSLEEPMode(PWR_LOWPOWERREGULATOR_ON, PWR_SLEEPENTRY_WFI);
  }

  s_b2_hold_start_ms = 0u;
}

static volatile uint8_t s_mp_wut_fired = 0u;
void HAL_RTCEx_WakeUpTimerEventCallback(RTC_HandleTypeDef *hrtc_ptr)
{
  (void)hrtc_ptr;
  s_mp_wut_fired = 1u;
}

static void lp_delay_sleep_ms(uint32_t ms)
{
  if (ms == 0u) return;
  uint32_t start = HAL_GetTick();
  while ((uint32_t)(HAL_GetTick() - start) < ms)
  {
    B2_Hold_Service_Blocking();
    HAL_PWR_EnterSLEEPMode(PWR_LOWPOWERREGULATOR_ON, PWR_SLEEPENTRY_WFI);
  }
}

static uint8_t lp_delay_rtc_ready(void)
{
  return (hrtc.Instance == RTC) ? 1u : 0u;
}

void LP_DELAY(uint32_t ms)
{
  if (ms == 0u) return;

  if (USB_IsPresent() != 0u)
  {
    HAL_Delay(ms);
    return;
  }

  if ((ms < 20u) || (lp_delay_rtc_ready() == 0u))
  {
    lp_delay_sleep_ms(ms);
    return;
  }

  /* RTC WUT @ RTCCLK/16 = 32768/16 = 2048 Hz (0.488 ms resolution), max ~32 s per shot. */
  /* NOTE: On battery we also watch B1 long-hold during STOP2 delays so program switching works even inside delay(). */
  static uint32_t s_b1_hold_ms = 0u;
  while (ms)
  {
    uint32_t chunk_ms = ms;
    /* Keep chunks short so we can observe button release while mostly sleeping. */
    if (chunk_ms > 50u) chunk_ms = 50u;

    /* While beeping (LPTIM2 from HSI), avoid STOP2 so PWM stays stable. */
    if (BEEP_IsActive() != 0u)
    {
      lp_delay_sleep_ms(chunk_ms);
    }
    else
    {
      B2_Hold_Service_Blocking();
      uint32_t ticks = (chunk_ms * 2048u + 999u) / 1000u;
      if (ticks < 1u) ticks = 1u;
      if (ticks > 65536u) ticks = 65536u;

      s_mp_wut_fired = 0u;
      (void)HAL_RTCEx_DeactivateWakeUpTimer(&hrtc);
      __HAL_RTC_WAKEUPTIMER_CLEAR_FLAG(&hrtc, RTC_FLAG_WUTF);

      if (HAL_RTCEx_SetWakeUpTimer_IT(&hrtc, (uint32_t)(ticks - 1u), RTC_WAKEUPCLOCK_RTCCLK_DIV16, 0u) != HAL_OK)
      {
        /* Fallback to light sleep if WUT setup fails. */
        lp_delay_sleep_ms(chunk_ms);
      }
      else
      {
        while (!s_mp_wut_fired)
        {
          B2_Hold_Service_Blocking();
          __HAL_PWR_CLEAR_FLAG(PWR_FLAG_WU);
          HAL_PWREx_EnterSTOP2Mode(PWR_STOPENTRY_WFI);
          SystemClock_Config();

          /* If we woke because of B2, stay awake in light sleep so HAL_GetTick() can count the 2s hold. */
          B2_Hold_Service_Blocking();
        }
        (void)HAL_RTCEx_DeactivateWakeUpTimer(&hrtc);
      }
    }

    ms -= chunk_ms;

    /* B1 long-hold (2s) triggers "next program" even if we're inside LP_DELAY (e.g., delay() in Pascal). */
    uint8_t b1 = (HAL_GPIO_ReadPin(B1_GPIO_Port, B1_Pin) == GPIO_PIN_SET) ? 1u : 0u;
    if (b1)
    {
      if (s_b1_hold_ms < (0xFFFFFFFFu - chunk_ms)) s_b1_hold_ms += chunk_ms;
      else s_b1_hold_ms = 0xFFFFFFFFu;
    }
    else if (s_b1_hold_ms != 0u)
    {
      if (s_b1_hold_ms >= MP_BTN_LONG_MS)
      {
        s_b1_hold_ms = 0u;
        mp_notify_button_long(1u);
        (void)HAL_RTCEx_DeactivateWakeUpTimer(&hrtc);
        return;
      }
      s_b1_hold_ms = 0u;
    }
  }
}

void mp_hal_lowpower_delay_ms(uint32_t ms)
{
  LP_DELAY(ms);
}

/* RAM usage monitor (CLI MEM). */
extern void *_sbrk(ptrdiff_t incr);

static volatile uint8_t  s_memmon_inited = 0u;
static volatile uint32_t s_mem_heap_end = 0u;
static volatile uint32_t s_mem_min_free = 0xFFFFFFFFu;
static volatile uint32_t s_mem_min_tick_ms = 0u;
static volatile uint8_t  s_mem_min_need_ts = 0u;
static char s_mem_min_dt[RTC_DATETIME_STRING_SIZE] = "N/A";

static uint32_t memmon_total_bytes(void)
{
  return (uint32_t)(&_estack) - RAM_START_ADDR;
}

static uint32_t memmon_free_bytes_with_heap_end(uint32_t heap_end)
{
  uint32_t msp = (uint32_t)__get_MSP();
  if (msp <= heap_end) return 0u;
  return msp - heap_end;
}

static void memmon_update_min(uint32_t free_now, uint32_t tick_ms)
{
  if (free_now < s_mem_min_free)
  {
    s_mem_min_free = free_now;
    s_mem_min_tick_ms = tick_ms;
    s_mem_min_need_ts = 1u;
  }
}

void MemMon_Init(void)
{
  void *p = _sbrk(0);
  if (p == (void *)-1) p = 0;
  s_mem_heap_end = (uint32_t)p;

  s_mem_min_free = 0xFFFFFFFFu;
  s_mem_min_tick_ms = HAL_GetTick();
  s_mem_min_need_ts = 1u;
  (void)memset(s_mem_min_dt, 0, sizeof(s_mem_min_dt));
  (void)strncpy(s_mem_min_dt, "N/A", sizeof(s_mem_min_dt) - 1u);

  s_memmon_inited = 1u;
  memmon_update_min(memmon_free_bytes_with_heap_end(s_mem_heap_end), HAL_GetTick());
}

void MemMon_Task(void)
{
  if (!s_memmon_inited) return;

  void *p = _sbrk(0);
  if (p != (void *)-1)
    s_mem_heap_end = (uint32_t)p;

  memmon_update_min(memmon_free_bytes_with_heap_end(s_mem_heap_end), HAL_GetTick());

  if (s_mem_min_need_ts)
  {
    char dt[RTC_DATETIME_STRING_SIZE];
    if (RTC_ReadClock(dt) == HAL_OK)
    {
      (void)strncpy(s_mem_min_dt, dt, sizeof(s_mem_min_dt) - 1u);
      s_mem_min_dt[sizeof(s_mem_min_dt) - 1u] = '\0';
    }
    else
    {
      (void)strncpy(s_mem_min_dt, "RTC_ERR", sizeof(s_mem_min_dt) - 1u);
      s_mem_min_dt[sizeof(s_mem_min_dt) - 1u] = '\0';
    }
    s_mem_min_need_ts = 0u;
  }
}

void MemMon_TickHook(void)
{
  if (!s_memmon_inited) return;
  memmon_update_min(memmon_free_bytes_with_heap_end(s_mem_heap_end), HAL_GetTick());
}

void MemMon_Get(uint32_t *out_total, uint32_t *out_free, uint32_t *out_min_free,
                uint32_t *out_min_tick_ms, char *min_dt, uint32_t min_dt_sz)
{
  if (out_total) *out_total = memmon_total_bytes();

  uint32_t heap_end = s_mem_heap_end;
  uint32_t free_now = 0u;
  void *p = _sbrk(0);
  if (p != (void *)-1)
    heap_end = (uint32_t)p;
  free_now = memmon_free_bytes_with_heap_end(heap_end);

  if (out_free) *out_free = free_now;

  uint32_t now = HAL_GetTick();
  uint32_t primask = __get_PRIMASK();
  __disable_irq();
  s_mem_heap_end = heap_end;
  memmon_update_min(free_now, now);
  uint32_t min_free = s_mem_min_free;
  uint32_t min_tick = s_mem_min_tick_ms;
  char dt_copy[RTC_DATETIME_STRING_SIZE];
  (void)memset(dt_copy, 0, sizeof(dt_copy));
  (void)strncpy(dt_copy, s_mem_min_dt, sizeof(dt_copy) - 1u);
  __set_PRIMASK(primask);

  if (out_min_free) *out_min_free = min_free;
  if (out_min_tick_ms) *out_min_tick_ms = min_tick;

  if (min_dt && (min_dt_sz != 0u))
  {
    (void)strncpy(min_dt, dt_copy, min_dt_sz - 1u);
    min_dt[min_dt_sz - 1u] = '\0';
  }
}

static void Power_MinimizeLoads(void)
{
    mp_request_stop();

    /* Try to switch off the LED strip gracefully before cutting its power. */
    led_set_all_RGBW(0u, 0u, 0u, 0u);
    led_render();

    HAL_GPIO_WritePin(CTL_LEN_GPIO_Port, CTL_LEN_Pin, GPIO_PIN_RESET);
    IND_LED_Off();
}

/* Return 1 if B1 stays pressed for hold_ms after wake, else 0. */
#define B1_WAKE_HOLD_MS   2000u
#define B1_ACTIVE_STATE   GPIO_PIN_SET
static uint8_t B1_WaitHeld(uint32_t hold_ms)
{
    if (HAL_GPIO_ReadPin(B1_GPIO_Port, B1_Pin) != B1_ACTIVE_STATE)
        return 0u;

    uint32_t start = HAL_GetTick();
    while ((uint32_t)(HAL_GetTick() - start) < hold_ms)
    {
        if (HAL_GPIO_ReadPin(B1_GPIO_Port, B1_Pin) != B1_ACTIVE_STATE)
            return 0u;
        HAL_PWR_EnterSLEEPMode(PWR_LOWPOWERREGULATOR_ON, PWR_SLEEPENTRY_WFI);
    }
    return 1u;
}

static void EnterStop(void)
{
    while (1)
    {
        Power_MinimizeLoads();

        /* If B1 is already held (e.g., wake from shutdown), accept it without entering STOP2. */
        if (B1_WaitHeld(B1_WAKE_HOLD_MS))
        {
            float vbat = vbat_read_blocking(50);
            if (vbat < CHARGER_VBAT_CRITICAL)
            {
                /* Low battery: indicate 2x (100ms on / 200ms gap), then go to standby. */
                for (uint8_t i = 0; i < 2; i++)
                {
                    IND_LED_On();
                    LP_DELAY(100);
                    IND_LED_Off();
                    LP_DELAY(200);
                }
                HAL_RTCEx_BKUPWrite(&hrtc, RTC_BKP_DR1, 0xB007u);
                EnterLowBatteryStandby();
                return;
            }
            s_battery_run_allowed = 1u;
            mp_request_run_loaded();
            return;
        }

        /* If B2 is held, allow shutdown request while we are about to sleep. */
        B2_Hold_Service_Blocking();

        /* Arm STOP2 wake tracking and clear any stale EXTI flags (prevents immediate wake). */
        s_stop2_armed = 1u;
        s_stop2_woke_by_b1 = 0u;
        __HAL_GPIO_EXTI_CLEAR_IT(B1_Pin);
        __HAL_GPIO_EXTI_CLEAR_IT(B2_Pin);
        __HAL_GPIO_EXTI_CLEAR_IT(USB_Pin);

        /* Clear wakeup flag and enter STOP2 mode (wake via EXTI). */
        __HAL_PWR_CLEAR_FLAG(PWR_FLAG_WU);
        HAL_PWREx_EnterSTOP2Mode(PWR_STOPENTRY_WFI);

        /* Reconfigure system clock after STOP2 wakeup. */
        SystemClock_Config();

        s_stop2_armed = 0u;
        uint8_t woke_by_b1 = s_stop2_woke_by_b1;
        if (!woke_by_b1 && (HAL_GPIO_ReadPin(B1_GPIO_Port, B1_Pin) == B1_ACTIVE_STATE))
            woke_by_b1 = 1u;

        if (woke_by_b1)
        {
            s_stop2_woke_by_b1 = 0u;
            if (B1_WaitHeld(B1_WAKE_HOLD_MS))
            {
                float vbat = vbat_read_blocking(50);
                if (vbat < CHARGER_VBAT_CRITICAL)
                {
                    /* Low battery: indicate 2x (100ms on / 200ms gap), then go to standby. */
                    for (uint8_t i = 0; i < 2; i++)
                    {
                        IND_LED_On();
                        LP_DELAY(100);
                        IND_LED_Off();
                        LP_DELAY(200);
                    }
                    HAL_RTCEx_BKUPWrite(&hrtc, RTC_BKP_DR1, 0xB007u);
                    EnterLowBatteryStandby();
                    return;
                }
                s_battery_run_allowed = 1u;
                mp_request_run_loaded();
                return;
            }
            /* Short/false wake: go back to STOP2. */
            continue;
        }

        /* If woke due to B2, wait for 2s hold and then shutdown. */
        B2_Hold_Service_Blocking();

        /* Wake by something else: return to caller. (USB attach will reset anyway.) */
        return;
    }
}

static void EnterShutdown(void)
{
    /* Force-stop any program and blank LEDs before powering down. */
    mp_force_stop();
    Power_MinimizeLoads();

    /* On battery, also disable charger enable. */
    HAL_GPIO_WritePin(CTL_CEN_GPIO_Port, CTL_CEN_Pin, GPIO_PIN_RESET);

    /* Configure wake sources: only B1 (WKUP1, PA0) wakes the MCU. */
    HAL_SuspendTick();
    HAL_PWR_DisableWakeUpPin(PWR_WAKEUP_PIN1_HIGH);
    HAL_PWR_DisableWakeUpPin(PWR_WAKEUP_PIN2_HIGH);
    HAL_PWR_DisableWakeUpPin(PWR_WAKEUP_PIN3_HIGH);
    HAL_PWR_DisableWakeUpPin(PWR_WAKEUP_PIN4_HIGH);
    HAL_PWR_DisableWakeUpPin(PWR_WAKEUP_PIN5_HIGH);
    HAL_PWR_DisableWakeUpPin(PWR_WAKEUP_PIN7_HIGH);

    __HAL_PWR_CLEAR_FLAG(PWR_FLAG_WU);
    HAL_PWR_EnableWakeUpPin(PWR_WAKEUP_PIN1_HIGH);

    /* Enter deepest low power mode (wake causes reset). */
    HAL_PWR_EnterSHUTDOWNMode();
    while (1) { }
}

static volatile uint8_t s_lamp_off_req = 0u;
static volatile uint8_t s_lamp_off_stop2 = 0u;

void Lamp_RequestOff(uint8_t enter_stop2)
{
    s_lamp_off_req = 1u;
    s_lamp_off_stop2 = (enter_stop2 != 0u) ? 1u : 0u;
}

static void Lamp_Off_Task(void)
{
    if (!s_lamp_off_req) return;
    s_lamp_off_req = 0u;

    if (s_lamp_off_stop2)
    {
        s_lamp_off_stop2 = 0u;
        EnterStop(); /* Includes Power_MinimizeLoads() */
        return;
    }

    Power_MinimizeLoads();
}

static void NoProgram_SleepUntilUSB(void)
{
    /* Blink 3x so user sees "no program" state (200ms on/off). */
    for (uint8_t i = 0; i < 3; i++)
    {
        IND_LED_On();
        LP_DELAY(200);
        IND_LED_Off();
        LP_DELAY(200);
    }

    /* Disable button EXTI lines so only USB connect can wake us. */
    uint32_t imr1 = EXTI->IMR1;
    EXTI->IMR1 = (imr1 & ~(B1_Pin | B2_Pin)) | USB_Pin;
    __HAL_GPIO_EXTI_CLEAR_IT(B1_Pin);
    __HAL_GPIO_EXTI_CLEAR_IT(B2_Pin);
    __HAL_GPIO_EXTI_CLEAR_IT(USB_Pin);

    /* Wait for USB to be connected. */
    HAL_SuspendTick();
    while (USB_IsPresent() == 0u)
    {
        Power_MinimizeLoads();
        __HAL_PWR_CLEAR_FLAG(PWR_FLAG_WU);
        HAL_PWR_EnterSTOPMode(PWR_LOWPOWERREGULATOR_ON, PWR_STOPENTRY_WFI);
    }
    HAL_ResumeTick();

    /* Restore EXTI masks (in practice USB attach will trigger reset). */
    EXTI->IMR1 = imr1;
}

static void BL_Task(void)
{
    if (s_bl_sleep_req)
    {
        s_bl_sleep_req = 0u;
        EnterStop();
    }
    Lamp_Off_Task();
}

void HAL_SYSTICK_Callback(void)
{
    if (USB_IsPresent() != 0u)
    {
        s_bl_hold_ms = 0u;
        s_bl_sleep_req = 0u;
    }
    else if (HAL_GPIO_ReadPin(BL_GPIO_Port, BL_Pin) == BL_ACTIVE_STATE)
    {
        if (s_bl_hold_ms < BL_SLEEP_HOLD_MS) s_bl_hold_ms++;
        if (s_bl_hold_ms >= BL_SLEEP_HOLD_MS) s_bl_sleep_req = 1u;
    }
    else
    {
        s_bl_hold_ms = 0u;
        s_bl_sleep_req = 0u;
    }

    MemMon_TickHook();
}

void HAL_GPIO_EXTI_Callback(uint16_t GPIO_Pin)
{
    static uint8_t usb_reset_done = 0;

    if (GPIO_Pin == B1_Pin)
    {
        if (s_stop2_armed)
        {
            /* Short BT1 press should start lamp after STOP2 wake. */
            s_stop2_woke_by_b1 = 1u;
        }
    }

    if (GPIO_Pin == USB_Pin)
    {
        if (USB_IsPresent() != 0u)
        {
            if (!usb_reset_done)
            {
                usb_reset_done = 1;
                for (volatile uint32_t i = 0; i < 100000; i++) { }
                NVIC_SystemReset();
            }
        }
        else
        {
            usb_reset_done = 0;
            USB_CLI_NotifyDetach();
            /* USB disconnected: switch to battery/autorun mode. */
            mp_request_usb_detach();
            mp_force_stop();
            /* Ensure indicator LED is not left stuck in "charger mirror" state. */
            IND_LED_Off();
            /* Do not autorun on detach: go to STOP2 and wait for B1 hold. */
            s_battery_run_allowed = 0u;
            Lamp_RequestOff(1u);
        }
    }
}

/**
 * @brief Jump to STM32 system bootloader
 * @note Deinitializes all peripherals and jumps to system memory bootloader
 *       STM32U073: System memory 26KB at 0x1FFF0000 (from AN2606)
 */
static void JumpToBootloader(void)
{
    /* STM32U073 system memory bootloader address (AN2606 section 86) */
    #define BOOT_ADD 0x1FFF0000UL

    /* Visual indication - blink LED 2x before jumping */
    for (int i = 0; i < 2; i++)
    {
        IND_LED_On();
        LP_DELAY(100);
        IND_LED_Off();
        LP_DELAY(100);
    }

    /* 1. Disable all interrupts */
    __disable_irq();

    /* 2. Disable HAL tick (SysTick) */
    SysTick->CTRL = 0;
    SysTick->LOAD = 0;
    SysTick->VAL = 0;

    /* 3. Disable and clear all NVIC interrupt bits */
    for (uint8_t i = 0; i < sizeof(NVIC->ICER) / sizeof(NVIC->ICER[0]); i++)
    {
        NVIC->ICER[i] = 0xFFFFFFFF;
        NVIC->ICPR[i] = 0xFFFFFFFF;
    }

    /* 4. Clear EXTI pending flags and mask EXTI lines (avoid spurious IRQs in ROM bootloader). */
    __HAL_GPIO_EXTI_CLEAR_IT(B1_Pin);
    __HAL_GPIO_EXTI_CLEAR_IT(B2_Pin);
    __HAL_GPIO_EXTI_CLEAR_IT(USB_Pin);
    EXTI->IMR1 = 0u;

    /* 5. Reset clocks and HAL state back to defaults (HSI, no PLL, peripherals reset). */
    (void)HAL_DeInit();
    (void)HAL_RCC_DeInit();

    /* 6. Enable SYSCFG clock for memory remap */
    __HAL_RCC_SYSCFG_CLK_ENABLE();

    /* 7. Remap system memory to 0x00000000 - MUST be before MSP/jump */
    __HAL_SYSCFG_REMAPMEMORY_SYSTEMFLASH();

    /* 8. Read bootloader stack pointer and reset vector */
    uint32_t bootloader_stack = *(__IO uint32_t *)(BOOT_ADD);
    uint32_t bootloader_reset = *(__IO uint32_t *)(BOOT_ADD + 4);

    /* 9. Set the main stack pointer */
    __set_MSP(bootloader_stack);

#if defined(SCB) && defined(SCB_VTOR_TBLOFF_Msk)
    /* On Cortex-M0+, also point VTOR to system memory for safety. */
    SCB->VTOR = BOOT_ADD;
#endif
    __DSB();
    __ISB();

    /* 10. Jump to bootloader reset handler (keep IRQs disabled) */
    void (*jump_to_boot)(void) = (void (*)(void))(bootloader_reset);
    jump_to_boot();

    /* Should never reach here */
    while (1);
}

/**
 * @brief Check if BL button is pressed at startup and jump to bootloader
 * @note Must be called after MX_GPIO_Init()
 *       BL is on PF3 (EXTI3), which is shared with USB detect on PA3 (EXTI3).
 *       To avoid EXTI source conflicts, BL is sampled by polling only.
 *       - Button pressed: blocks here (no other peripherals init)
 *       - Released before 5s: continues normal boot
 *       - Held for 5s: jumps to DFU bootloader (system memory)
 */
static void CheckBootloaderEntry(void)
{
    /* BL_Pin already initialized by MX_GPIO_Init() */

    /* If button not pressed, continue immediately */
    if (HAL_GPIO_ReadPin(BL_GPIO_Port, BL_Pin) != BL_ACTIVE_STATE)
    {
        return;
    }

    /* Button is pressed - block here and wait */
    uint32_t start_tick = HAL_GetTick();

    while (1)
    {
        /* Button released - continue normal boot */
        if (HAL_GPIO_ReadPin(BL_GPIO_Port, BL_Pin) != BL_ACTIVE_STATE)
        {
            return;  /* Exit and continue with peripheral initialization */
        }

        /* Button held for 5 seconds - jump to bootloader */
        if ((HAL_GetTick() - start_tick) >= 5000u)
        {
            JumpToBootloader();
            /* Never returns */
        }

        LP_DELAY(10); /* Check every 10ms for faster response */
    }
}

static void rtc_wakeup_1s_enable(void)
{
    static uint8_t nvic_init = 0;
    if (!nvic_init)
    {
        /* STM32U073: Wakeup/Alarm share RTC_TAMP_IRQn */
        HAL_NVIC_SetPriority(RTC_TAMP_IRQn, 0, 0);
        HAL_NVIC_EnableIRQ(RTC_TAMP_IRQn);
        nvic_init = 1;
    }

    (void)HAL_RTCEx_DeactivateWakeUpTimer(&hrtc);
    (void)HAL_RTCEx_SetWakeUpTimer_IT(&hrtc, 0, RTC_WAKEUPCLOCK_CK_SPRE_16BITS, 0);
}

static void rtc_wakeup_disable(void)
{
    (void)HAL_RTCEx_DeactivateWakeUpTimer(&hrtc);
}

static float vbat_read_blocking(uint32_t timeout_ms)
{
    uint32_t start = HAL_GetTick();
    uint32_t id0 = ANALOG_GetUpdateId();
    ANALOG_RequestUpdate();
    while ((HAL_GetTick() - start) < timeout_ms)
    {
        ANALOG_Task();
        if (ANALOG_GetUpdateId() != id0)
            break;
        __WFI();
    }
    return ANALOG_GetBat();
}

#define LOWBAT_MAGIC 0xB007u
#define LOWBAT_BKP_REG RTC_BKP_DR1

static void EnterLowBatteryStandby(void)
{
    if (USB_IsPresent() != 0u)
        return;

    rtc_wakeup_1s_enable();

    /* Minimize loads */
    Power_MinimizeLoads();

    /* Standby with RTC wakeup: lowest power, wake causes reset */
    __HAL_PWR_CLEAR_FLAG(PWR_FLAG_WU);
    __HAL_PWR_CLEAR_FLAG(PWR_FLAG_SB);
    HAL_SuspendTick();
    HAL_PWR_EnterSTANDBYMode();
}

static void LowBattery_EarlyGate(void)
{
    if (USB_IsPresent() != 0u)
    {
        HAL_RTCEx_BKUPWrite(&hrtc, LOWBAT_BKP_REG, 0u);
        rtc_wakeup_disable();
        return;
    }

    uint32_t magic = HAL_RTCEx_BKUPRead(&hrtc, LOWBAT_BKP_REG);
    float vbat = vbat_read_blocking(50);

    if (magic == LOWBAT_MAGIC)
    {
        if (vbat < CHARGER_VBAT_RECOVERY)
        {
            EnterLowBatteryStandby();
        }
        HAL_RTCEx_BKUPWrite(&hrtc, LOWBAT_BKP_REG, 0u);
        rtc_wakeup_disable();
        return;
    }

    if (vbat < CHARGER_VBAT_CRITICAL)
    {
        HAL_RTCEx_BKUPWrite(&hrtc, LOWBAT_BKP_REG, LOWBAT_MAGIC);
        EnterLowBatteryStandby();
    }
}

static void LowBattery_Task(void)
{
    static uint32_t last_check_ms = 0;
    if (USB_IsPresent() != 0u)
        return;

    uint32_t now = HAL_GetTick();
    if ((now - last_check_ms) < 1000u)
        return;
    last_check_ms = now;

    float vbat = vbat_read_blocking(50);
    if (vbat < CHARGER_VBAT_CRITICAL)
    {
        HAL_RTCEx_BKUPWrite(&hrtc, LOWBAT_BKP_REG, LOWBAT_MAGIC);
        EnterLowBatteryStandby();
    }
}

/* USER CODE END 4 */

void Error_Handler(void)
{
  __disable_irq();
  while (1)
  {
  }
}
